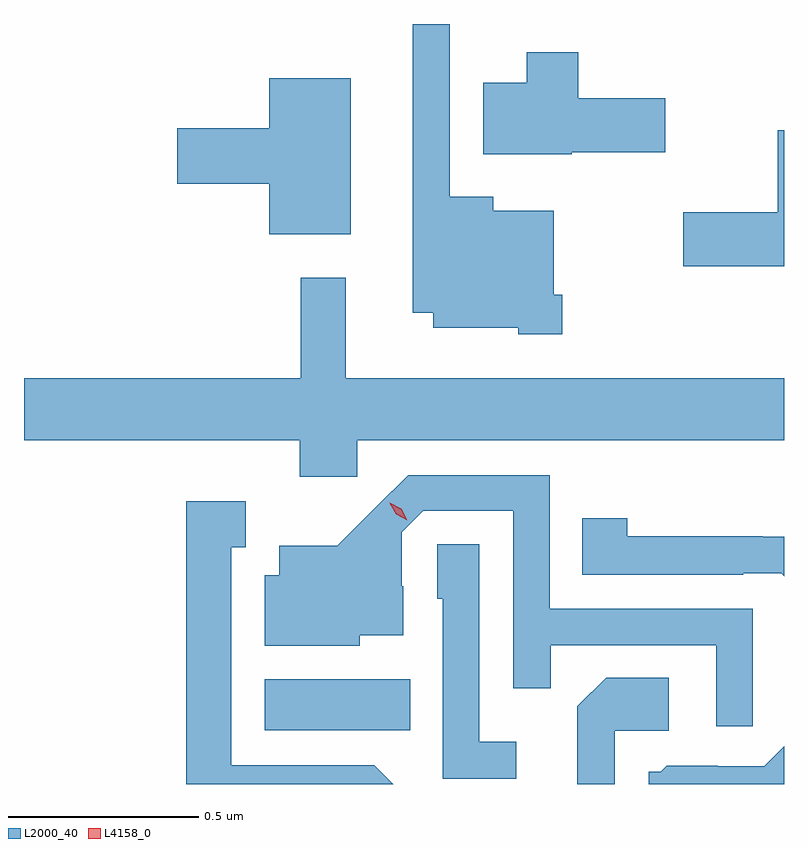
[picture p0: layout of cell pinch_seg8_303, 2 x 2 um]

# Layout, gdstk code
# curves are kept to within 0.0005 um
import gdstk
lib = gdstk.Library(unit=1e-6, precision=1e-09)
def R(c, l, rs):  # rectangles x0, y0, x1, y1
    for r in rs: c.add(gdstk.rectangle(r[:2], r[2:], *l))
def P(c, l, *ps):  # polygons
    for p in ps: c.add(gdstk.Polygon(p, *l))
L2000_40 = (2000, 40)
L4158_0 = (4158, 0)

pinch_seg8_303 = lib.new_cell('pinch_seg8_303')
R(pinch_seg8_303, L2000_40, [(516.548,1142.378,516.932,1142.512)])
P(pinch_seg8_303, L2000_40, [(517.331,1143.523),(517.309,1143.523),(517.309,1143.745),(517.15,1143.745),(517.15,1143.781),(517.035,1143.781),(517.035,1144.236),(516.938,1144.236),(516.938,1143.476),(516.992,1143.476),(516.992,1143.437),(517.215,1143.437),(517.215,1143.419),(517.331,1143.419)],
  [(517.356,1143.899),(517.603,1143.899),(517.603,1144.041),(517.373,1144.041),(517.373,1144.162),(517.238,1144.162),(517.238,1144.081),(517.124,1144.081),(517.124,1143.893),(517.356,1143.893)],
  [(516.775,1144.093),(516.56,1144.093),(516.56,1143.962),(516.318,1143.962),(516.318,1143.815),(516.56,1143.815),(516.56,1143.683),(516.775,1143.683)],
  [(517.915,1143.956),(517.899,1143.956),(517.899,1143.74),(517.65,1143.74),(517.65,1143.598),(517.915,1143.598)],
  [(516.792,1143.14),(517.915,1143.14),(517.915,1143.304),(516.762,1143.304),(516.762,1143.568),(516.643,1143.568),(516.643,1143.304),(515.915,1143.304),(515.915,1143.14),(516.641,1143.14),(516.641,1143.045),(516.792,1143.045)],
  [(517.833,1142.697),(517.299,1142.697),(517.299,1143.048),(516.926,1143.048),(516.739,1142.863),(516.587,1142.863),(516.587,1142.785),(516.548,1142.785),(516.548,1142.6),(516.798,1142.6),(516.798,1142.627),(516.913,1142.627),(516.913,1142.756),(516.909,1142.756),(516.909,1142.898),(516.966,1142.955),(517.203,1142.955),(517.203,1142.488),(517.301,1142.488),(517.301,1142.601),(517.737,1142.601),(517.737,1142.388),(517.833,1142.388)],
  [(516.837,1142.286),(516.46,1142.286),(516.46,1142.859),(516.499,1142.859),(516.499,1142.98),(516.342,1142.98),(516.342,1142.236),(516.887,1142.236)],
  [(517.915,1142.887),(517.859,1142.887),(517.859,1142.888),(517.503,1142.888),(517.503,1142.935),(517.384,1142.935),(517.384,1142.787),(517.808,1142.787),(517.808,1142.79),(517.908,1142.79),(517.915,1142.783)],
  [(517.21,1142.347),(517.113,1142.347),(517.113,1142.867),(517.002,1142.867),(517.002,1142.724),(517.017,1142.724),(517.017,1142.25),(517.21,1142.25)],
  [(517.47,1142.376),(517.612,1142.376),(517.612,1142.516),(517.447,1142.516),(517.371,1142.44),(517.371,1142.236),(517.47,1142.236)],
  [(517.915,1142.335),(517.863,1142.283),(517.74,1142.283),(517.74,1142.284),(517.606,1142.284),(517.59,1142.268),(517.559,1142.268),(517.559,1142.236),(517.915,1142.236)])
P(pinch_seg8_303, L4158_0, [(516.924,1142.93),(516.894,1142.946),(516.877,1142.975),(516.877,1142.976),(516.877,1142.976),(516.908,1142.96),(516.924,1142.93),(516.924,1142.93)])

lib.write_gds('pinch_seg8_303.gds')
